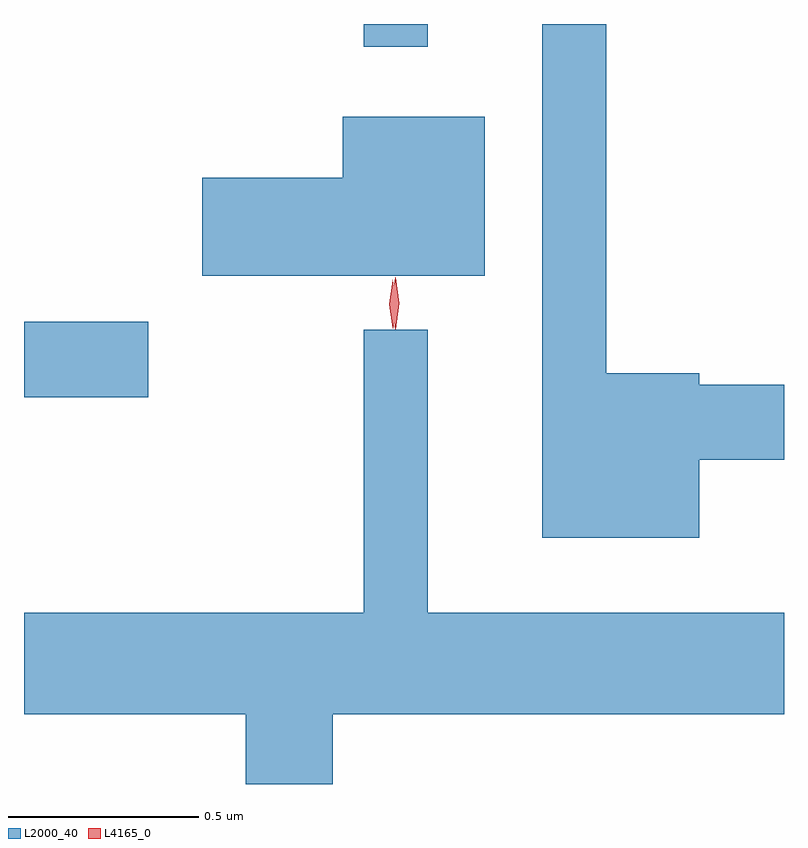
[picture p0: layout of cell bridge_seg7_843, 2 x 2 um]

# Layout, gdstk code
import gdstk
lib = gdstk.Library(unit=1e-6, precision=1e-09)
def R(c, l, rs):  # rectangles x0, y0, x1, y1
    for r in rs: c.add(gdstk.rectangle(r[:2], r[2:], *l))
def P(c, l, *ps):  # polygons
    for p in ps: c.add(gdstk.Polygon(p, *l))
L2000_40 = (2000, 40)
L4165_0 = (4165, 0)

bridge_seg7_843 = lib.new_cell('bridge_seg7_843')
R(bridge_seg7_843, L2000_40, [(243.687,1737.351,244.014,1737.549), (244.581,1738.273,244.749,1738.333)])
P(bridge_seg7_843, L2000_40, [(245.464,1737.186),(245.687,1737.186),(245.687,1737.384),(245.464,1737.384),(245.464,1737.414),(245.219,1737.414),(245.219,1738.333),(245.051,1738.333),(245.051,1736.981),(245.464,1736.981)],
  [(244.899,1738.089),(244.526,1738.089),(244.526,1737.929),(244.156,1737.929),(244.156,1737.671),(244.899,1737.671)],
  [(244.499,1736.516),(245.687,1736.516),(245.687,1736.784),(244.749,1736.784),(244.749,1737.528),(244.581,1737.528),(244.581,1736.784),(243.687,1736.784),(243.687,1736.516),(244.271,1736.516),(244.271,1736.333),(244.499,1736.333)])
P(bridge_seg7_843, L4165_0, [(244.658,1737.533),(244.658,1737.533),(244.648,1737.596),(244.657,1737.659),(244.658,1737.66),(244.658,1737.659),(244.668,1737.596),(244.659,1737.533)],
  [(244.664,1737.53),(244.655,1737.598),(244.664,1737.665),(244.664,1737.666),(244.665,1737.665),(244.674,1737.598),(244.665,1737.53),(244.665,1737.53)])

lib.write_gds('bridge_seg7_843.gds')
